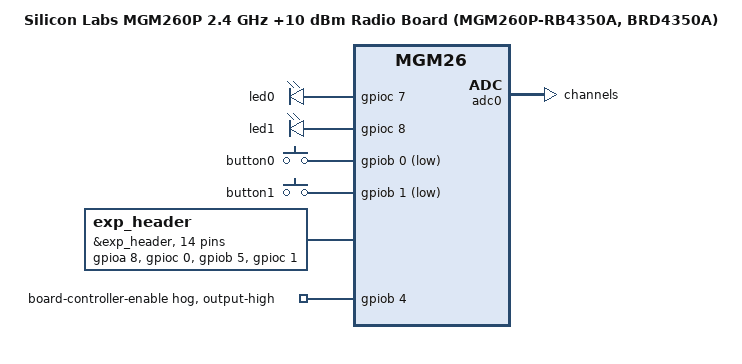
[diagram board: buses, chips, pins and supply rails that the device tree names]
/*
 * Copyright (c) 2025 Silicon Laboratories Inc.
 *
 * SPDX-License-Identifier: Apache-2.0
 */

/dts-v1/;
#include <silabs/xg26/mgm260pd22vna.dtsi>
#include <silabs/xg26/clock-hfrcodpll-80m.dtsi>
#include "xg26_common.dtsi"
#include "mgm260p_rb4350a-pinctrl.dtsi"

/ {
	model = "Silicon Labs MGM260P 2.4 GHz +10 dBm Radio Board (MGM260P-RB4350A, BRD4350A)";
	compatible = "silabs,mgm260p_rb4350a", "silabs,mgm26";
};

&led0 {
	gpios = <&gpioc 7 GPIO_ACTIVE_HIGH>;
};

&led1 {
	gpios = <&gpioc 8 GPIO_ACTIVE_HIGH>;
};

&button0 {
	gpios = <&gpiob 0 GPIO_ACTIVE_LOW>;
};

&button1 {
	gpios = <&gpiob 1 GPIO_ACTIVE_LOW>;
};

&sensor_enable {
	enable-gpios = <&gpiod 2 GPIO_ACTIVE_HIGH>;
};

&exp_header {
	gpio-map = <3 0 &gpioa 8 0>,
		   <4 0 &gpioc 0 0>,
		   <5 0 &gpiob 5 0>,
		   <6 0 &gpioc 1 0>,
		   <7 0 &gpiob 0 0>,
		   <8 0 &gpioc 2 0>,
		   <9 0 &gpiob 1 0>,
		   <10 0 &gpioc 3 0>,
		   <11 0 &gpioc 9 0>,
		   <12 0 &gpioa 5 0>,
		   <13 0 &gpiod 5 0>,
		   <14 0 &gpioa 6 0>,
		   <15 0 &gpiob 2 0>,
		   <16 0 &gpiob 3 0>;
};

&eusart1 {
	cs-gpios = <&gpioc 6 GPIO_ACTIVE_HIGH>;
};

&ls0xx_ls013b7dh03 {
	disp-en-gpios = <&gpiod 3 GPIO_ACTIVE_HIGH>;
	extcomin-gpios = <&gpioa 0 GPIO_ACTIVE_HIGH>;
};

&adc0 {
	channel@0 {
		zephyr,input-positive = <IADC_INPUT_PD4>;
	};
};

&gpiob {
	board-controller-enable {
		gpio-hog;
		gpios = <4 GPIO_ACTIVE_HIGH>;
		output-high;
	};
};
